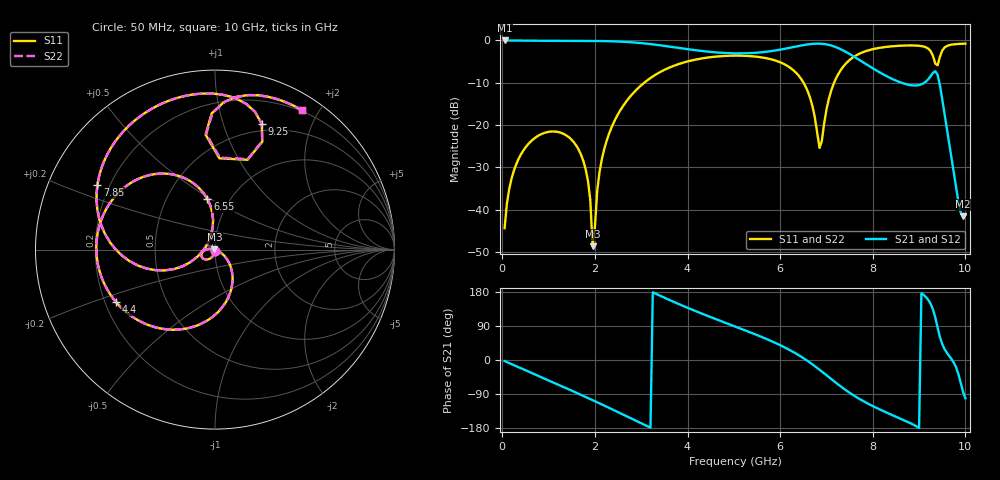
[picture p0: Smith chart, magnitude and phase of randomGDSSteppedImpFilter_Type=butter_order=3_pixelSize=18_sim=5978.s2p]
! freq	dB(S11)	phase(S11)	dB(S12)	phase(S12)
!  dB(S21)	phase(S21)	dB(S22)	phase(S22)
!S-par simulation data
#  GHz  S  DB  R 50
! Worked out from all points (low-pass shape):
!   200 points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, 50 MHz to 10 GHz, reference 50 ohm
!   highest |S21| = 0.00 dB at 50 MHz (marker M1); lowest = -41.5 dB at 9.95 GHz (marker M2)
!   |S21| within 3 dB of the highest: start of sweep to 4.879 GHz; 5.331 GHz to 7.468 GHz (2.137 GHz wide, 33.4 % of centre)
!   lowest |S11| = -48.6 dB at 1.95 GHz (marker M3), VSWR 1.01, Z = 49.6 + j0.0843 ohm
!   |S11| at or under -10 dB: start of sweep to 3.064 GHz; 6.505 GHz to 7.165 GHz (660.1 MHz wide, 9.66 % of centre)
!   |S22| runs from -48.5 to -0.8 dB; largest |S21 - S12| = 0
!   S11 on the Smith chart (normalised r, x): 50 MHz: 1.00, -0.01; 4.4 GHz: 0.24, -0.23; 6.55 GHz: 0.79, +0.48; 7.85 GHz: 0.15, +0.25; 9.25 GHz: 0.43, +1.35; 10 GHz: 0.19, +1.78
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0.05  -44.35 -90.5  -0.00 -2.8  -0.00 -2.8  -44.35 -90.5
0.25  -30.77 -103.2  -0.03 -13.6  -0.03 -13.6  -30.77 -103.2
0.65  -23.51 -125.6  -0.07 -35.1  -0.07 -35.1  -23.51 -125.6
1.75  -28.47 174.7  -0.12 -94.7  -0.12 -94.7  -28.47 175.2
1.9  -37.65 166.9  -0.12 -103.1  -0.12 -103.1  -37.64 168.5
1.95  -48.60 166.8  -0.13 -105.9  -0.13 -105.9  -48.50 173.3
2.1  -31.08 -25.8  -0.14 -114.4  -0.14 -114.4  -31.07 -26.7
2.3  -22.19 -37.0  -0.18 -125.9  -0.18 -125.9  -22.19 -37.4
3.4  -7.52 -100.6  -1.14 170.0  -1.14 170.0  -7.52 -100.7
4.4  -4.09 -152.1  -2.61 118.0  -2.61 118.0  -4.09 -152.2
5.05  -3.59 177.9  -3.05 87.4  -3.05 87.4  -3.59 177.8
5.95  -4.95 134.0  -2.27 42.1  -2.27 42.1  -4.95 133.9
6.55  -10.91 98.6  -1.01 1.1  -1.01 1.1  -10.91 98.5
6.7  -15.64 93.7  -0.81 -11.7  -0.81 -11.7  -15.63 93.7
6.85  -25.38 137.9  -0.76 -25.6  -0.76 -25.6  -25.33 137.9
7.2  -9.11 -160.8  -1.57 -59.6  -1.57 -59.6  -9.11 -160.9
7.85  -2.53 151.2  -5.58 -112.2  -5.58 -112.2  -2.53 151.1
8.35  -1.45 122.2  -8.72 -141.5  -8.72 -141.5  -1.45 122.1
9.25  -2.53 69.6  -8.43 148.2  -8.43 148.2  -2.52 69.6
9.45  -3.83 94.7  -10.58 60.3  -10.58 60.3  -3.80 94.3
9.95  -0.78 60.6  -41.54 -84.3  -41.54 -84.3  -0.78 60.5
10  -0.77 58.2  -41.22 -101.0  -41.22 -101.0  -0.77 58.0
